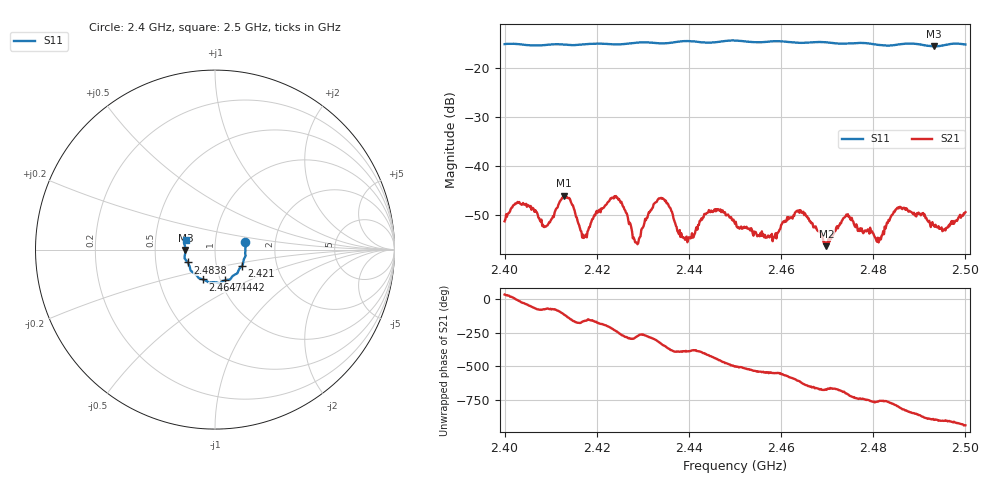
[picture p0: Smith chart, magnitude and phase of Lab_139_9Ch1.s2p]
# Hz S RI R 50
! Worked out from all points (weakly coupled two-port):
!   601 points, 2.4 GHz to 2.5 GHz, reference 50 ohm
!   highest |S21| = -46.11 dB at 2.4128 GHz (marker M1); lowest = -56.4 dB at 2.4698 GHz (marker M2)
!   lowest |S11| = -15.7 dB at 2.4932 GHz (marker M3), VSWR 1.39, Z = 35.8 - j0.122 ohm
!   |S11| at or under -10 dB: start of sweep to end of sweep
!   S12 and S22 are empty: the file has one direction only
!   S11 on the Smith chart (normalised r, x): 2.4 GHz: 1.40, +0.12; 2.421 GHz: 1.33, -0.24; 2.4442 GHz: 1.05, -0.37; 2.4647 GHz: 0.83, -0.28; 2.4838 GHz: 0.73, -0.11; 2.5 GHz: 0.71, +0.08
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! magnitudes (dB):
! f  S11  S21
! 2.4 GHz  -15.2  -51.3
! 2.403 GHz  -15.2  -47.5
! 2.409 GHz  -15.4  -52.4
! 2.4128 GHz  -15.3  -46.1
! 2.4167 GHz  -15.3  -53.4
! 2.421 GHz  -15.1  -48.7
! 2.4245 GHz  -15.3  -46.5
! 2.4287 GHz  -14.9  -55.7
! 2.4333 GHz  -15.0  -46.8
! 2.4393 GHz  -14.6  -54.7
! 2.4442 GHz  -14.9  -49.5
! 2.45 GHz  -14.5  -51.9
! 2.4585 GHz  -14.6  -54.5
! 2.4647 GHz  -14.9  -49.6
! 2.4667 GHz  -14.8  -51.6
! 2.4698 GHz  -14.8  -56.4
! 2.474 GHz  -15.1  -50.3
! 2.4812 GHz  -15.4  -55.6
! 2.4833 GHz  -15.5  -51.0
! 2.4838 GHz  -15.5  -50.4
! 2.4932 GHz  -15.7  -52.2
! 2.5 GHz  -15.3  -49.5
